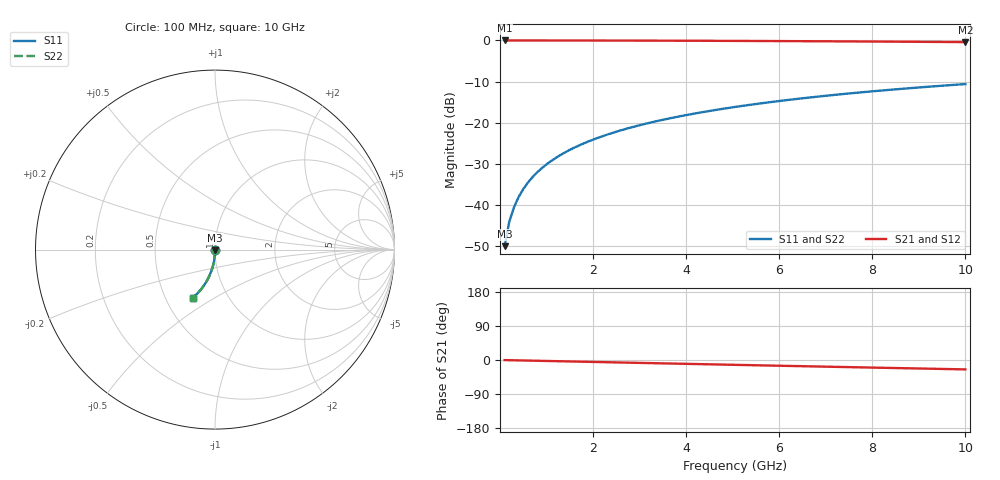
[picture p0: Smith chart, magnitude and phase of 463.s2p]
# Hz S RI R 50.00
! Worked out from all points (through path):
!   100 points, 100 MHz to 10 GHz, reference 50 ohm
!   highest |S21| = 0.00 dB at 100 MHz (marker M1); lowest = -0.4 dB at 10 GHz (marker M2)
!   group delay of S21, straight-line fit = 6.9 ps
!   lowest |S11| = -49.9 dB at 100 MHz (marker M3), VSWR 1.01, Z = 50.1 - j0.314 ohm
!   |S11| at or under -10 dB: start of sweep to end of sweep
!   |S22| runs from -49.9 to -10.6 dB; largest |S21 - S12| = 0
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1e8  0.000545 -0.00313  0.9994 -0.00444  0.9994 -0.00444  0.000545 -0.00313
2e8  0.000503 -0.00627  0.9994 -0.00889  0.9994 -0.00889  0.000503 -0.00627
3e8  0.000433 -0.0094  0.9993 -0.0133  0.9993 -0.0133  0.000433 -0.0094
4e8  0.000334 -0.0125  0.9992 -0.0178  0.9992 -0.0178  0.000334 -0.0125
5e8  0.000207 -0.0157  0.999 -0.0222  0.999 -0.0222  0.000207 -0.0157
6e8  5.19e-05 -0.0188  0.9989 -0.0267  0.9989 -0.0267  5.19e-05 -0.0188
7e8  -0.000131 -0.0219  0.9987 -0.0311  0.9987 -0.0311  -0.000131 -0.0219
8e8  -0.000342 -0.025  0.9984 -0.0355  0.9984 -0.0355  -0.000342 -0.025
9e8  -0.00058 -0.0282  0.9982 -0.04  0.9982 -0.04  -0.00058 -0.0282
1.1e9  -0.00114 -0.0344  0.9976 -0.0488  0.9976 -0.0488  -0.00114 -0.0344
1.4e9  -0.00219 -0.0437  0.9965 -0.0621  0.9965 -0.0621  -0.00219 -0.0437
1.8e9  -0.00397 -0.0561  0.9946 -0.0797  0.9946 -0.0797  -0.00397 -0.0561
2.1e9  -0.00559 -0.0653  0.9928 -0.0929  0.9928 -0.0929  -0.00559 -0.0653
2.5e9  -0.00813 -0.0776  0.9901 -0.1103  0.9901 -0.1103  -0.00813 -0.0776
2.9e9  -0.0111 -0.0897  0.987 -0.1277  0.987 -0.1277  -0.0111 -0.0897
3.4e9  -0.0154 -0.1046  0.9824 -0.1492  0.9824 -0.1492  -0.0154 -0.1046
4.2e9  -0.0236 -0.128  0.9737 -0.1831  0.9737 -0.1831  -0.0236 -0.128
5.1e9  -0.0347 -0.1533  0.9618 -0.2203  0.9618 -0.2203  -0.0347 -0.1533
5.9e9  -0.0461 -0.175  0.9497 -0.2524  0.9497 -0.2524  -0.0461 -0.175
6.7e9  -0.0588 -0.1956  0.936 -0.2836  0.936 -0.2836  -0.0588 -0.1956
8.4e9  -0.09 -0.2356  0.9026 -0.3461  0.9026 -0.3461  -0.09 -0.2356
1e10  -0.1234 -0.2681  0.8665 -0.4  0.8665 -0.4  -0.1234 -0.2681
